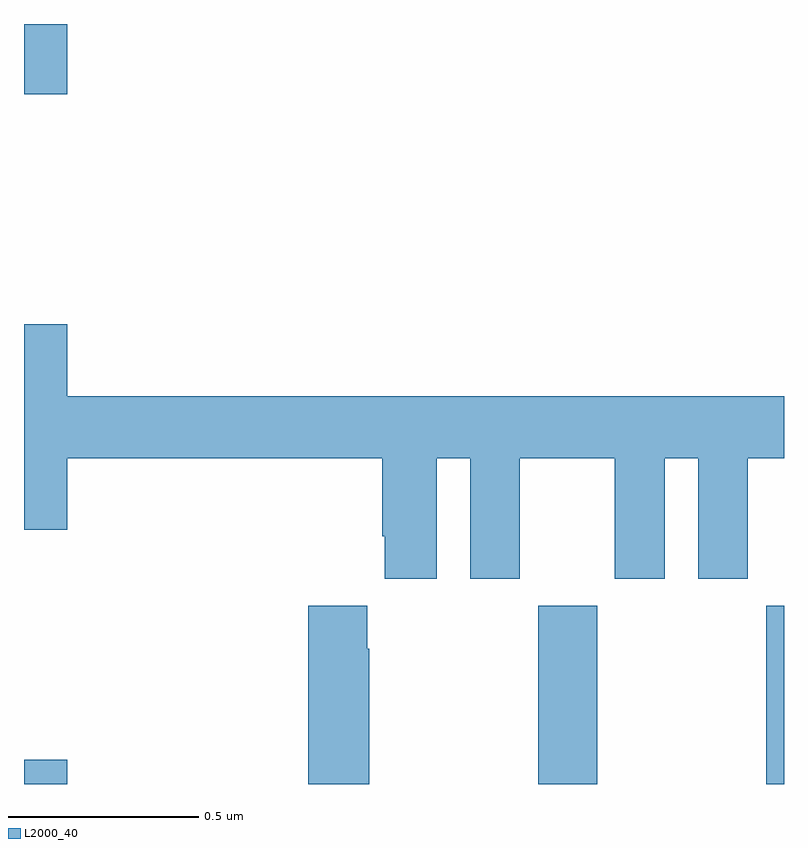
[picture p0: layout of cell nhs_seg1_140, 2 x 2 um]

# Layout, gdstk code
import gdstk
lib = gdstk.Library(unit=1e-6, precision=1e-09)
def R(c, l, rs):  # rectangles x0, y0, x1, y1
    for r in rs: c.add(gdstk.rectangle(r[:2], r[2:], *l))
def P(c, l, *ps):  # polygons
    for p in ps: c.add(gdstk.Polygon(p, *l))
L2000_40 = (2000, 40)

nhs_seg1_140 = lib.new_cell('nhs_seg1_140')
R(nhs_seg1_140, L2000_40, [(112,560.199,112.114,560.263), (113.353,560.199,113.508,560.668), (113.953,560.199,114,560.668), (112,562.014,112.114,562.199)])
P(nhs_seg1_140, L2000_40, [(113.086,561.056),(113.174,561.056),(113.174,560.739),(113.305,560.739),(113.305,561.056),(113.555,561.056),(113.555,560.739),(113.686,560.739),(113.686,561.056),(113.774,561.056),(113.774,560.739),(113.905,560.739),(113.905,561.056),(114,561.056),(114,561.22),(112.114,561.22),(112.114,561.409),(112,561.409),(112,560.868),(112.114,560.868),(112.114,561.056),(112.943,561.056),(112.943,560.851),(112.949,560.851),(112.949,560.739),(113.086,560.739)],
  [(112.908,560.555),(112.903,560.555),(112.903,560.668),(112.748,560.668),(112.748,560.199),(112.908,560.199)])

lib.write_gds('nhs_seg1_140.gds')
